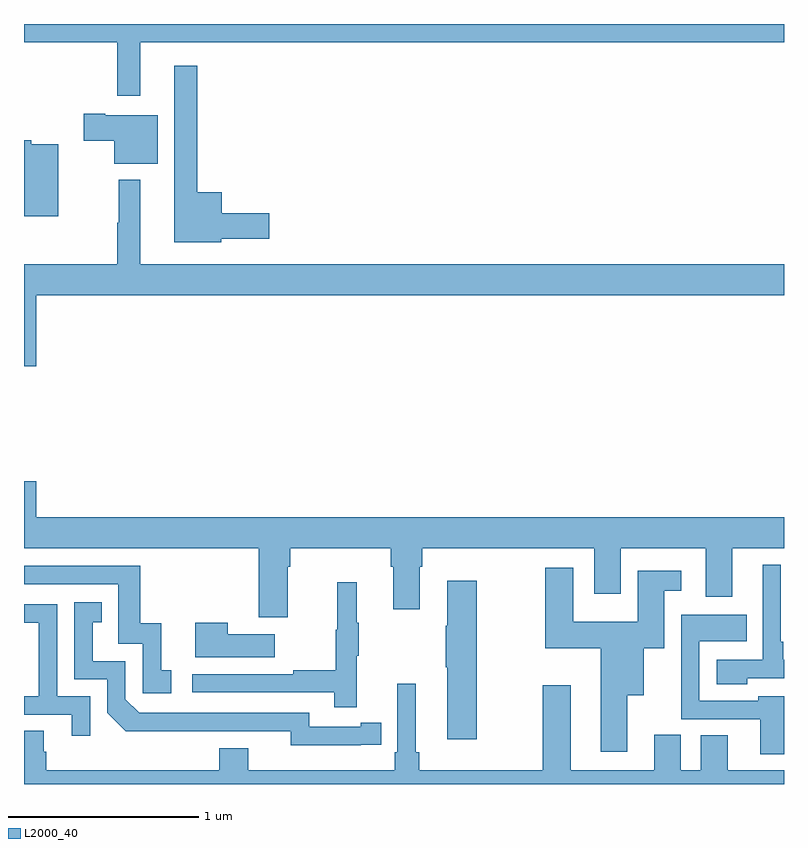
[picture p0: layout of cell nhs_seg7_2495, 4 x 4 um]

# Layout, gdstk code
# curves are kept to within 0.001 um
import gdstk
lib = gdstk.Library(unit=1e-6, precision=1e-09)
def P(c, l, *ps):  # polygons
    for p in ps: c.add(gdstk.Polygon(p, *l))
L2000_40 = (2000, 40)

nhs_seg7_2495 = lib.new_cell('nhs_seg7_2495')
P(nhs_seg7_2495, L2000_40, [(273.613,1045.904),(277,1045.904),(277,1046),(273,1046),(273,1045.904),(273.492,1045.904),(273.492,1045.623),(273.613,1045.623)],
  [(274.038,1044.869),(274.291,1044.869),(274.291,1045.004),(274.042,1045.004),(274.042,1045.114),(273.913,1045.114),(273.913,1045.78),(273.791,1045.78),(273.791,1044.851),(274.038,1044.851)],
  [(273.703,1045.519),(273.427,1045.519),(273.427,1045.527),(273.315,1045.527),(273.315,1045.385),(273.476,1045.385),(273.476,1045.265),(273.703,1045.265)],
  [(273.18,1045.368),(273.038,1045.368),(273.038,1045.388),(273,1045.388),(273,1045.252),(273.002,1045.252),(273.002,1044.987),(273.18,1044.987)],
  [(273.064,1044.572),(277,1044.572),(277,1044.736),(273.613,1044.736),(273.613,1045.18),(273.499,1045.18),(273.499,1044.953),(273.492,1044.953),(273.492,1044.736),(273,1044.736),(273,1044.198),(273.064,1044.198)],
  [(274.387,1043.144),(274.4,1043.144),(274.4,1043.24),(274.931,1043.24),(274.931,1043.144),(274.943,1043.144),(274.943,1042.92),(275.083,1042.92),(275.083,1043.144),(275.096,1043.144),(275.096,1043.24),(276.002,1043.24),(276.002,1043.001),(276.142,1043.001),(276.142,1043.24),(276.587,1043.24),(276.587,1042.986),(276.727,1042.986),(276.727,1043.24),(277,1043.24),(277,1043.404),(273.064,1043.404),(273.064,1043.593),(273,1043.593),(273,1043.24),(274.235,1043.24),(274.235,1042.878),(274.387,1042.878)],
  [(276.806,1042.557),(277,1042.557),(277,1042.653),(276.997,1042.653),(276.997,1042.75),(276.984,1042.75),(276.984,1043.155),(276.888,1043.155),(276.888,1042.653),(276.645,1042.653),(276.645,1042.526),(276.806,1042.526)],
  [(273.775,1042.599),(273.722,1042.599),(273.722,1042.846),(273.611,1042.846),(273.611,1043.148),(273,1043.148),(273,1043.052),(273.495,1043.052),(273.495,1042.737),(273.624,1042.737),(273.624,1042.478),(273.775,1042.478)],
  [(276.175,1042.466),(276.262,1042.466),(276.262,1042.715),(276.37,1042.715),(276.37,1043.018),(276.46,1043.018),(276.46,1043.122),(276.23,1043.122),(276.23,1042.855),(275.89,1042.855),(275.89,1043.137),(275.743,1043.137),(275.743,1042.715),(276.035,1042.715),(276.035,1042.17),(276.175,1042.17)],
  [(275.382,1043.071),(275.228,1043.071),(275.228,1042.832),(275.221,1042.832),(275.221,1042.615),(275.228,1042.615),(275.228,1042.236),(275.382,1042.236)],
  [(274.751,1042.675),(274.762,1042.675),(274.762,1042.849),(274.751,1042.849),(274.751,1043.062),(274.648,1043.062),(274.648,1042.812),(274.641,1042.812),(274.641,1042.598),(274.417,1042.598),(274.417,1042.578),(273.885,1042.578),(273.885,1042.482),(274.633,1042.482),(274.633,1042.404),(274.751,1042.404)],
  [(274.772,1042.206),(274.88,1042.206),(274.88,1042.322),(274.772,1042.322),(274.772,1042.302),(274.5,1042.302),(274.5,1042.374),(273.606,1042.374),(273.534,1042.446),(273.534,1042.647),(273.361,1042.647),(273.361,1042.851),(273.41,1042.851),(273.41,1042.957),(273.264,1042.957),(273.264,1042.551),(273.438,1042.551),(273.438,1042.374),(273.536,1042.277),(274.404,1042.278),(274.404,1042.205)],
  [(273.348,1042.461),(273.174,1042.461),(273.174,1042.947),(273,1042.947),(273,1042.85),(273.078,1042.85),(273.078,1042.461),(273,1042.461),(273,1042.365),(273.251,1042.365),(273.251,1042.254),(273.348,1042.254)],
  [(277,1042.461),(276.864,1042.461),(276.864,1042.437),(276.555,1042.437),(276.555,1042.751),(276.803,1042.751),(276.803,1042.891),(276.458,1042.891),(276.458,1042.341),(276.875,1042.341),(276.875,1042.157),(277,1042.157)],
  [(274.321,1042.789),(274.073,1042.789),(274.073,1042.849),(273.902,1042.849),(273.902,1042.667),(274.321,1042.667)],
  [(277,1042.072),(276.703,1042.072),(276.703,1042.256),(276.563,1042.256),(276.563,1042.072),(276.456,1042.072),(276.456,1042.26),(276.317,1042.26),(276.317,1042.072),(275.878,1042.072),(275.878,1042.519),(275.731,1042.519),(275.731,1042.072),(275.081,1042.072),(275.081,1042.168),(275.062,1042.168),(275.062,1042.528),(274.965,1042.528),(274.965,1042.168),(274.952,1042.168),(274.952,1042.072),(274.18,1042.072),(274.18,1042.189),(274.028,1042.189),(274.028,1042.072),(273.116,1042.072),(273.116,1042.17),(273.103,1042.17),(273.103,1042.28),(273,1042.28),(273,1042),(277,1042)])

lib.write_gds('nhs_seg7_2495.gds')
